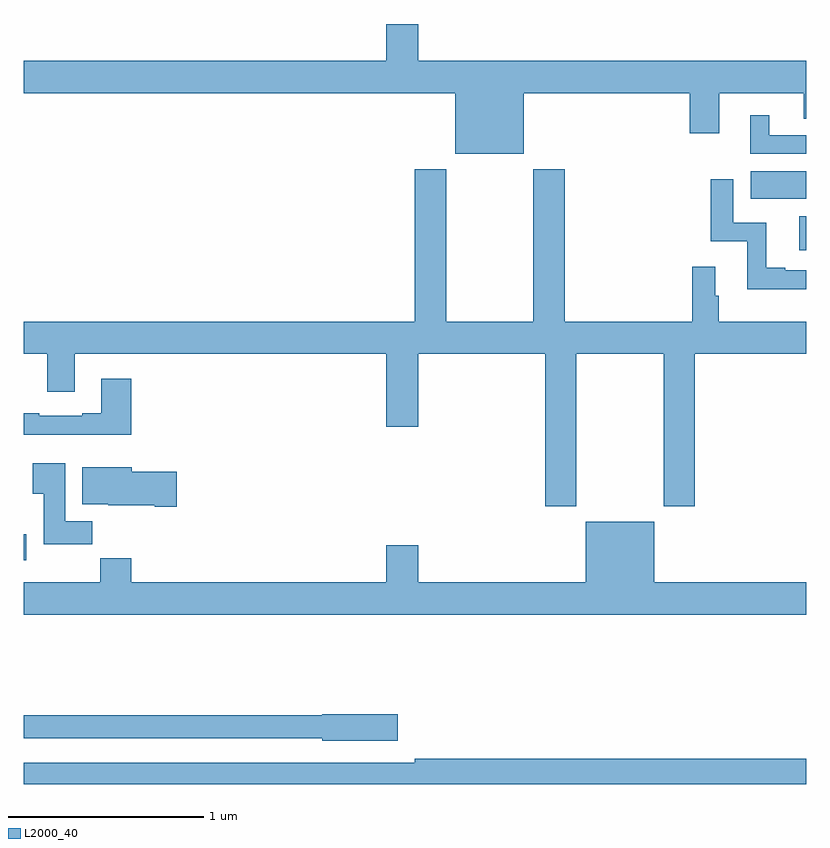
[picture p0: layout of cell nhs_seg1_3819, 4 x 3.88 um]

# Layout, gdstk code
import gdstk
lib = gdstk.Library(unit=1e-6, precision=1e-09)
def R(c, l, rs):  # rectangles x0, y0, x1, y1
    for r in rs: c.add(gdstk.rectangle(r[:2], r[2:], *l))
def P(c, l, *ps):  # polygons
    for p in ps: c.add(gdstk.Polygon(p, *l))
L2000_40 = (2000, 40)

nhs_seg1_3819 = lib.new_cell('nhs_seg1_3819')
R(nhs_seg1_3819, L2000_40, [(319,545.348,319.015,545.483), (322.964,546.932,323,547.108), (322.716,547.196,323,547.336)])
P(nhs_seg1_3819, L2000_40, [(321.556,547.736),(322.403,547.736),(322.403,547.53),(322.555,547.53),(322.555,547.736),(322.985,547.736),(322.985,547.606),(323,547.606),(323,547.9),(321.016,547.9),(321.016,548.089),(320.852,548.089),(320.852,547.9),(319,547.9),(319,547.736),(321.206,547.736),(321.206,547.427),(321.556,547.427)],
  [(323,547.521),(322.81,547.521),(322.81,547.624),(322.712,547.624),(322.712,547.425),(323,547.425)],
  [(321.825,546.404),(322.27,546.404),(322.27,545.625),(322.43,545.625),(322.43,546.404),(323,546.404),(323,546.568),(322.553,546.568),(322.553,546.701),(322.534,546.701),(322.534,546.85),(322.417,546.85),(322.417,546.568),(321.764,546.568),(321.764,547.348),(321.604,547.348),(321.604,546.568),(321.159,546.568),(321.159,547.348),(320.999,547.348),(320.999,546.568),(319,546.568),(319,546.404),(319.121,546.404),(319.121,546.21),(319.261,546.21),(319.261,546.404),(320.852,546.404),(320.852,546.03),(321.016,546.03),(321.016,546.404),(321.665,546.404),(321.665,545.625),(321.825,545.625)],
  [(323,546.831),(322.891,546.831),(322.891,546.844),(322.795,546.844),(322.795,547.074),(322.626,547.074),(322.626,547.297),(322.51,547.297),(322.51,546.978),(322.697,546.978),(322.697,546.734),(323,546.734)],
  [(319.55,546.277),(319.397,546.277),(319.397,546.1),(319.301,546.1),(319.301,546.087),(319.081,546.087),(319.081,546.1),(319,546.1),(319,545.99),(319.55,545.99)],
  [(319.352,545.548),(319.213,545.548),(319.213,545.845),(319.046,545.845),(319.046,545.689),(319.103,545.689),(319.103,545.43),(319.352,545.43)],
  [(319.783,545.801),(319.552,545.801),(319.552,545.824),(319.301,545.824),(319.301,545.636),(319.434,545.636),(319.434,545.63),(319.67,545.63),(319.67,545.623),(319.783,545.623)],
  [(323,545.236),(322.222,545.236),(322.222,545.545),(321.872,545.545),(321.872,545.236),(321.016,545.236),(321.016,545.425),(320.852,545.425),(320.852,545.236),(319.55,545.236),(319.55,545.36),(319.393,545.36),(319.393,545.236),(319,545.236),(319,545.072),(323,545.072)],
  [(320.911,544.562),(320.526,544.562),(320.526,544.556),(319,544.556),(319,544.44),(320.526,544.44),(320.526,544.427),(320.911,544.427)],
  [(323,544.334),(320.998,544.334),(320.998,544.314),(319,544.314),(319,544.206),(323,544.206)])

lib.write_gds('nhs_seg1_3819.gds')
